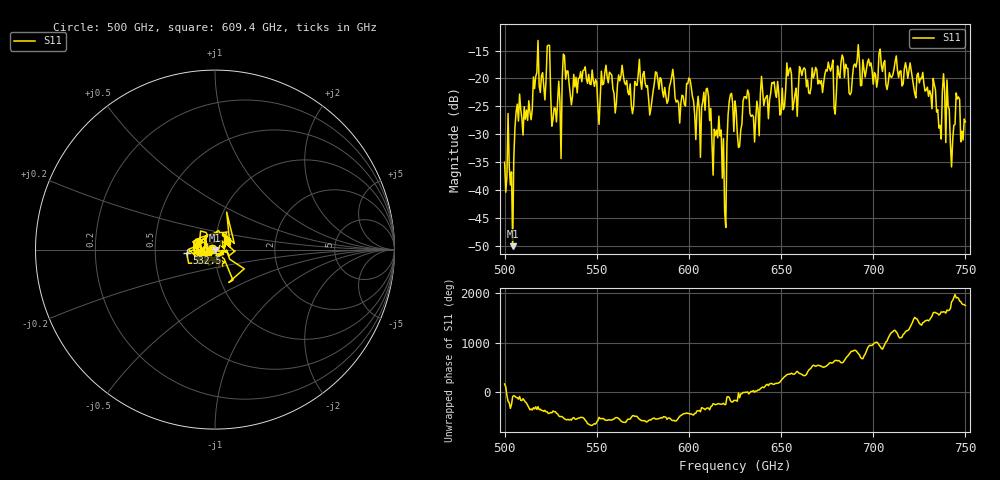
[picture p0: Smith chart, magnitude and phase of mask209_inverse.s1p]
!Created with skrf (http://scikit-rf.org).
# GHz S MA R 50.0
!freq magS11 angS11
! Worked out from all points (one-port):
!   401 points, 500 GHz to 750 GHz, reference 50 ohm
!   lowest |S11| = -50.1 dB at 504.4 GHz (marker M1), VSWR 1.01, Z = 50 - j0.31 ohm
!   |S11| at or under -10 dB: start of sweep to end of sweep
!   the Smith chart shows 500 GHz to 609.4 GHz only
!   S11 on the Smith chart (normalised r, x): 500 GHz: 0.97, +0.01; 532.5 GHz: 0.73, -0.03; 609.4 GHz: 1.14, +0.11
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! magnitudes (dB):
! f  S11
! 500 GHz  -35.0
! 504.4 GHz  -50.1
! 506.9 GHz  -24.6
! 513.8 GHz  -26.0
! 516.9 GHz  -19.7
! 523.8 GHz  -14.0
! 526.9 GHz  -25.3
! 531.2 GHz  -20.1
! 532.5 GHz  -16.0
! 550.6 GHz  -25.3
! 562.5 GHz  -20.4
! 593.8 GHz  -23.9
! 600 GHz  -19.9
! 605 GHz  -23.2
! 609.4 GHz  -21.9
! 613.8 GHz  -29.1
! 617.5 GHz  -29.3
! 619.4 GHz  -43.9
! 622.5 GHz  -22.9
! 625 GHz  -24.0
! 656.2 GHz  -25.6
! 687.5 GHz  -22.9
! 718.8 GHz  -20.0
! 735.6 GHz  -28.9
! 738.8 GHz  -22.3
! 743.1 GHz  -31.0
! 745.6 GHz  -23.7
! 750 GHz  -27.8
